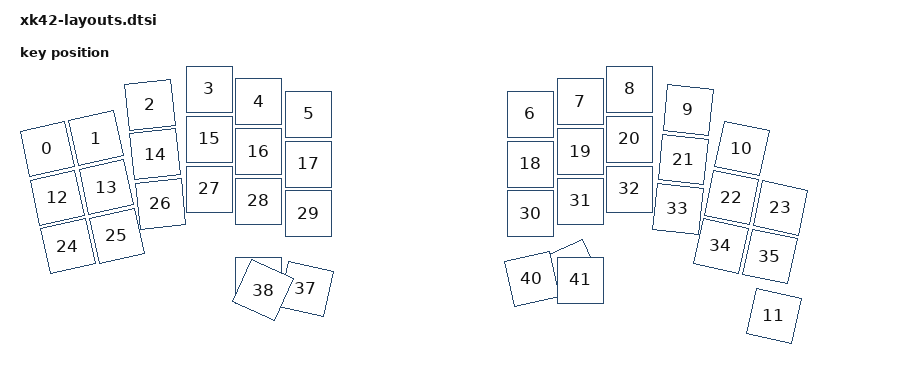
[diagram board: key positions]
/*
* Copyright (c) 2020 The ZMK Contributors
*
* SPDX-License-Identifier: MIT
*/

#include <physical_layouts.dtsi>

/ {
    default_layout: keymap_layout_0 {
        compatible = "zmk,physical-layout";
        display-name = "Default";
        transform = <&default_transform>;
        kscan = <&kscan0>;

        keys =
            // Top row: Q W E R T Y U I O P + mods (0-11)
            <&key_physical_attrs  100  100     0   131 (-1200)     0   131>
            , <&key_physical_attrs  100  100    97   110 (-1200)    97   110>
            , <&key_physical_attrs  100  100   210    37 (-600)   210    37>
            , <&key_physical_attrs  100  100   333     0      0     0     0>
            , <&key_physical_attrs  100  100   432    25      0     0     0>
            , <&key_physical_attrs  100  100   532    50      0     0     0>
            , <&key_physical_attrs  100  100   975    50      0     0     0>
            , <&key_physical_attrs  100  100  1075    25      0     0     0>
            , <&key_physical_attrs  100  100  1174     0      0     0     0>
            , <&key_physical_attrs  100  100  1297    37    600  1297    37>
            , <&key_physical_attrs  100  100  1410   110   1200  1410   110>
            , <&key_physical_attrs  100  100  1507   131   1200     0   131>
            // Home row: A S D F G H J K L ; ' + mods (12-23)
            , <&key_physical_attrs  100  100    20   229 (-1200)    20   229>
            , <&key_physical_attrs  100  100   118   208 (-1200)   118   208>
            , <&key_physical_attrs  100  100   220   136 (-600)   220   136>
            , <&key_physical_attrs  100  100   333   100      0     0     0>
            , <&key_physical_attrs  100  100   432   125      0     0     0>
            , <&key_physical_attrs  100  100   532   150      0     0     0>
            , <&key_physical_attrs  100  100   975   150      0     0     0>
            , <&key_physical_attrs  100  100  1075   125      0     0     0>
            , <&key_physical_attrs  100  100  1174   100      0     0     0>
            , <&key_physical_attrs  100  100  1287   136    600  1287   136>
            , <&key_physical_attrs  100  100  1389   208   1200  1389   208>
            , <&key_physical_attrs  100  100  1487   229   1200  1487   229>
            // Bottom row: Z X C V B N M , . / + mods (24-35)
            , <&key_physical_attrs  100  100    41   326 (-1200)    41   326>
            , <&key_physical_attrs  100  100   139   305 (-1200)   139   305>
            , <&key_physical_attrs  100  100   231   235 (-600)   231   235>
            , <&key_physical_attrs  100  100   333   200      0     0     0>
            , <&key_physical_attrs  100  100   432   224      0     0     0>
            , <&key_physical_attrs  100  100   532   249      0     0     0>
            , <&key_physical_attrs  100  100   975   249      0     0     0>
            , <&key_physical_attrs  100  100  1075   224      0     0     0>
            , <&key_physical_attrs  100  100  1174   200      0     0     0>
            , <&key_physical_attrs  100  100  1276   235    600  1276   235>
            , <&key_physical_attrs  100  100  1368   305   1200  1368   305>
            , <&key_physical_attrs  100  100  1466   326   1200  1466   326>
            // Thumb cluster: Thumb keys/modifiers (36-41)
            , <&key_physical_attrs  100  100   432   382      0     0     0>
            , <&key_physical_attrs  100  100   538   391   1200   538   391>
            , <&key_physical_attrs  100  100   638   423   2400   638     0>
            , <&key_physical_attrs  100  100   869   423 (-2400)   869     0>
            , <&key_physical_attrs  100  100   969   391 (-1200)   969   391>
            , <&key_physical_attrs  100  100  1075   382      0     0     0>;
    };
};
